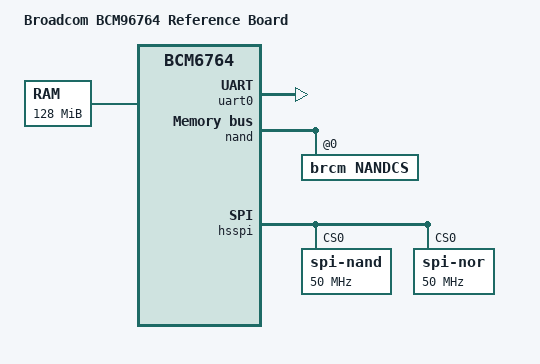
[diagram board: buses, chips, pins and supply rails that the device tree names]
// SPDX-License-Identifier: GPL-2.0+
/*
 * Copyright 2021 Broadcom Ltd.
 */


/dts-v1/;

#include "bcm6764.dtsi"

/ {
	model = "Broadcom BCM96764 Reference Board";
	compatible = "brcm,bcm96764", "brcm,bcm6764", "brcm,bcmbca";


	aliases {
		serial0 = &uart0;
		spi1 = &hsspi;
	};

	chosen {
		stdout-path = "serial0:115200n8";
	};

	memory {
		device_type = "memory";
#if defined(CONFIG_ARMV7_LPAE)
		reg = <0x0 0x0 0x0 0x08000000>;
#else
		reg = <0x0 0x08000000>;
#endif
	};

};

&uart0 {
	status = "okay";
};

&nand {
	status = "okay";
	write-protect = <0>;
	#address-cells = <1>;
	#size-cells = <0>;

	nandcs@0 {
		compatible = "brcm,nandcs";
		reg = <0>;
	};
};

&hsspi {
	status = "okay";
	spi-nand {
		compatible = "spi-nand";
		reg = <0>;
		pinctrl-0 = <&spim_ss0_b_pin_43>;
		pinctrl-names = "default";	
		#address-cells = <1>;
		#size-cells = <0>;
		u-boot,dm-pre-reloc;
		spi-max-frequency = <50000000>;
	};
	spi-nor@0 {
		pinctrl-0 = <&spim_ss0_b_pin_43>;
		pinctrl-names = "default";
		compatible = "jedec,spi-nor";
		reg = <0>;
		#address-cells = <1>;
		#size-cells = <0>;
		spi-max-frequency = <50000000>;
		u-boot,dm-pre-reloc;
	};
};
